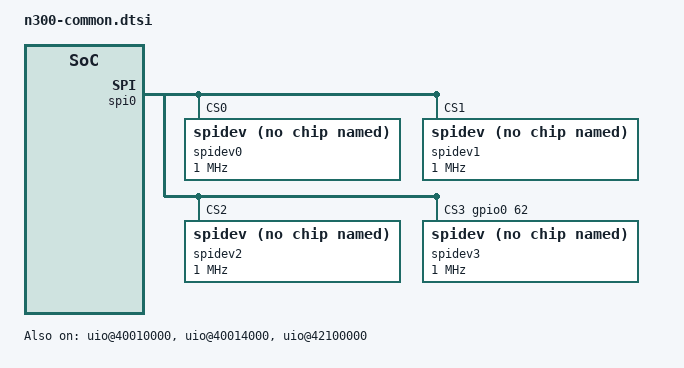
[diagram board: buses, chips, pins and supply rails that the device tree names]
/*
 * Copyright (c) 2017 National Instruments Corp
 *
 * SPDX-License-Identifier: GPL-2.0 OR X11
 */

&fpga_full {
	uio@40010000 {
		compatible = "usrp-uio";
		reg = <0x40010000 0x2000>;
		reg-names = "mboard-regs";
		status = "okay";
	};

    uio@40014000 {
		compatible = "usrp-uio";
		reg = <0x40014000 0x4000>;
		reg-names = "dboard-regs-0";
		status = "okay";
	};

	uio@42100000 {
		compatible = "usrp-uio";
		reg = <0x42100000 0x1000>;
		reg-names = "dboard-jtag-0";
		status = "okay";
	};
};

&spi0 {
	status = "okay";

	cs-gpios = <0>, <0>, <0>, <&gpio0 62 0>;

	spidev0: spidev@0 {
		compatible = "rohm,dh2228fv";
		reg = <0>;
		status = "okay";
		spi-max-frequency = <1000000>;
	};

	spidev1: spidev@1 {
		compatible = "rohm,dh2228fv";
		reg = <1>;
		status = "okay";
		spi-max-frequency = <1000000>;
	};

	spidev2: spidev@2 {
		compatible = "rohm,dh2228fv";
		reg = <2>;
		status = "okay";
		spi-max-frequency = <1000000>;
	};

	spidev3: spidev@3 {
		compatible = "rohm,dh2228fv";
		reg = <3>;
		status = "okay";
		spi-max-frequency = <1000000>;
	};
};
